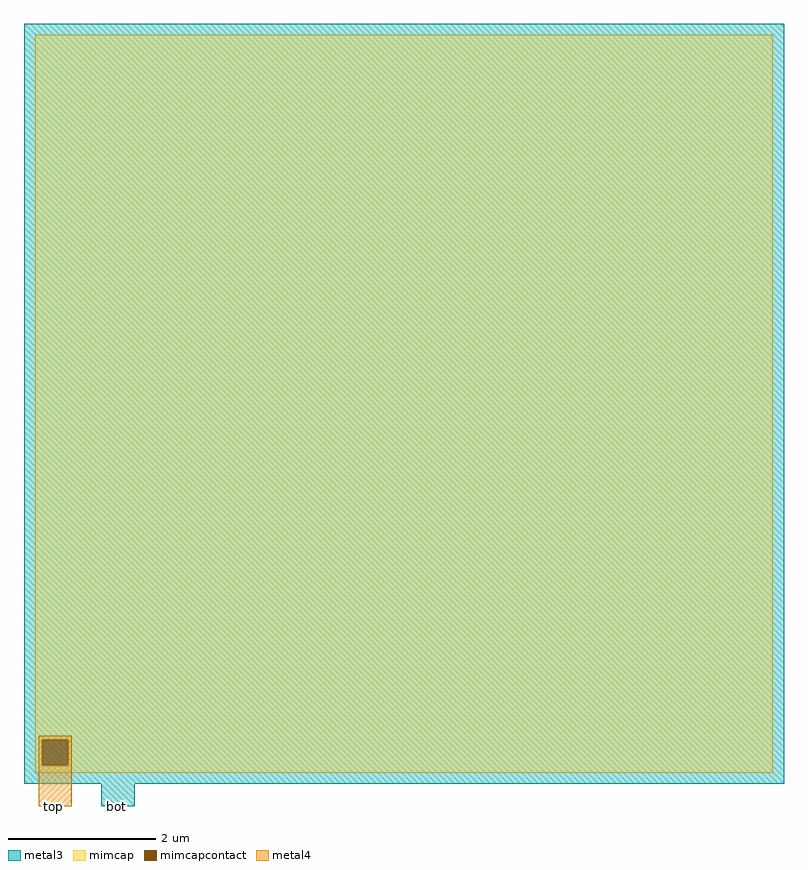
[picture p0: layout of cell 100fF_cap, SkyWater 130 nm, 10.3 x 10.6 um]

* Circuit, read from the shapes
.subckt 100fF_cap bot top
XC1 top bot sky130_fd_pr__cap_mim_m3_1 w=10 l=10
.ends

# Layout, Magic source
magic
tech sky130A
<< metal3 >>
rect -15 -15 1015 1015
rect 90 -45 135 -15
<< mimcap >>
rect 0 45 1000 1000
rect 0 10 10 45
rect 45 10 1000 45
rect 0 0 1000 10
<< mimcapcontact >>
rect 10 10 45 45
<< metal4 >>
rect 5 45 50 50
rect 5 10 10 45
rect 45 10 50 45
rect 5 -45 50 10
<< labels >>
rlabel metal4 25 -45 25 -45 5 top
rlabel metal3 110 -45 110 -45 5 bot
<< end >>
